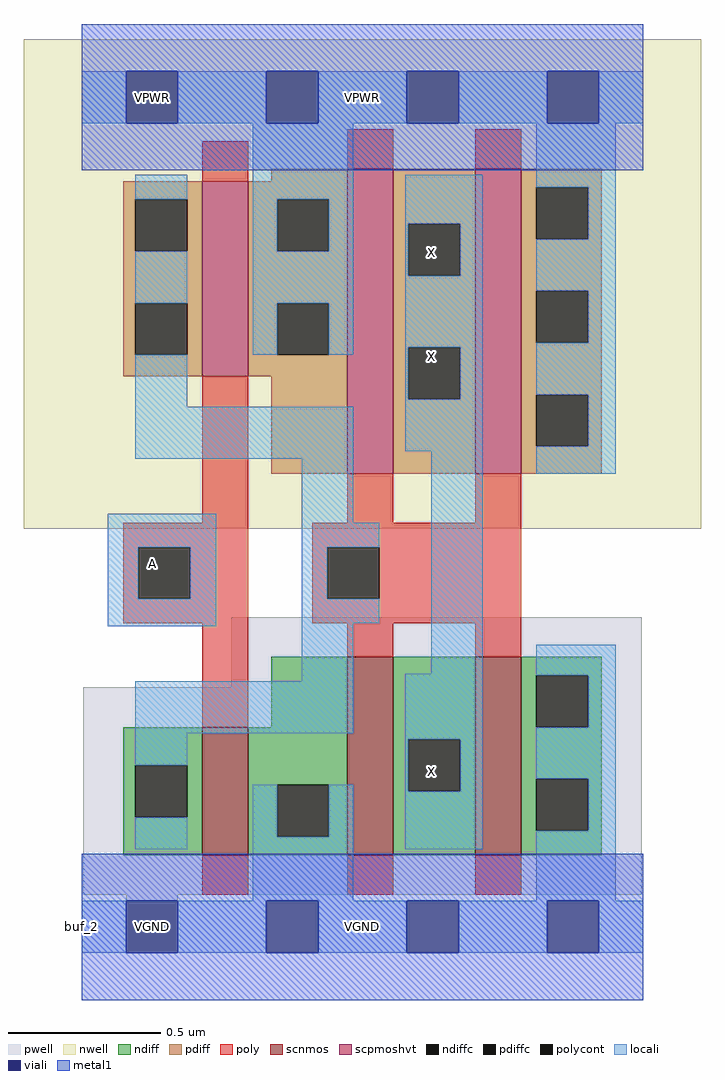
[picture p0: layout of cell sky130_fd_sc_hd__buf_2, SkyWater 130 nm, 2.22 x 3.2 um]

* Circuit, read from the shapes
.subckt sky130_fd_sc_hd__buf_2 A VGND VNB VPB VPWR X
XM1 VGND A n1 VNB sky130_fd_pr__nfet_01v8 w=0.42 l=0.15
XM2 X n1 VGND VNB sky130_fd_pr__nfet_01v8 w=0.65 l=0.15 m=2
XM3 VPWR A n1 VPB sky130_fd_pr__pfet_01v8_hvt w=0.64 l=0.15
XM4 X n1 VPWR VPB sky130_fd_pr__pfet_01v8_hvt w=1 l=0.15 m=2
.ends

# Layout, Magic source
magic
tech sky130A
magscale 1 2
<< nwell >>
rect -38 261 406 582
<< pwell >>
rect 98 157 367 203
rect 1 21 367 157
rect 29 -17 63 21
<< scnmos >>
rect 79 47 109 131
rect 174 47 204 177
rect 258 47 288 177
<< scpmoshvt >>
rect 79 361 109 489
rect 174 297 204 497
rect 258 297 288 497
<< ndiff >>
rect 124 131 174 177
rect 27 106 79 131
rect 27 72 35 106
rect 69 72 79 106
rect 27 47 79 72
rect 109 93 174 131
rect 109 59 128 93
rect 162 59 174 93
rect 109 47 174 59
rect 204 123 258 177
rect 204 89 214 123
rect 248 89 258 123
rect 204 47 258 89
rect 288 165 341 177
rect 288 131 298 165
rect 332 131 341 165
rect 288 97 341 131
rect 288 63 298 97
rect 332 63 341 97
rect 288 47 341 63
<< pdiff >>
rect 124 489 174 497
rect 27 477 79 489
rect 27 443 35 477
rect 69 443 79 477
rect 27 409 79 443
rect 27 375 35 409
rect 69 375 79 409
rect 27 361 79 375
rect 109 477 174 489
rect 109 443 128 477
rect 162 443 174 477
rect 109 409 174 443
rect 109 375 128 409
rect 162 375 174 409
rect 109 361 174 375
rect 124 297 174 361
rect 204 461 258 497
rect 204 427 214 461
rect 248 427 258 461
rect 204 380 258 427
rect 204 346 214 380
rect 248 346 258 380
rect 204 297 258 346
rect 288 485 341 497
rect 288 451 298 485
rect 332 451 341 485
rect 288 417 341 451
rect 288 383 298 417
rect 332 383 341 417
rect 288 349 341 383
rect 288 315 298 349
rect 332 315 341 349
rect 288 297 341 315
<< ndiffc >>
rect 35 72 69 106
rect 128 59 162 93
rect 214 89 248 123
rect 298 131 332 165
rect 298 63 332 97
<< pdiffc >>
rect 35 443 69 477
rect 35 375 69 409
rect 128 443 162 477
rect 128 375 162 409
rect 214 427 248 461
rect 214 346 248 380
rect 298 451 332 485
rect 298 383 332 417
rect 298 315 332 349
<< poly >>
rect 79 489 109 515
rect 174 497 204 523
rect 258 497 288 523
rect 79 265 109 361
rect 174 265 204 297
rect 258 265 288 297
rect 27 249 109 265
rect 27 215 37 249
rect 71 215 109 249
rect 27 199 109 215
rect 151 249 288 265
rect 151 215 161 249
rect 195 215 288 249
rect 151 199 288 215
rect 79 131 109 199
rect 174 177 204 199
rect 258 177 288 199
rect 79 21 109 47
rect 174 21 204 47
rect 258 21 288 47
<< polycont >>
rect 37 215 71 249
rect 161 215 195 249
<< locali >>
rect 0 527 29 561
rect 63 527 121 561
rect 155 527 213 561
rect 247 527 305 561
rect 339 527 368 561
rect 35 477 69 493
rect 35 409 69 443
rect 112 477 178 527
rect 112 443 128 477
rect 162 443 178 477
rect 112 409 178 443
rect 112 375 128 409
rect 162 375 178 409
rect 212 461 263 493
rect 212 427 214 461
rect 248 427 263 461
rect 212 380 263 427
rect 35 341 69 375
rect 212 346 214 380
rect 248 346 263 380
rect 35 307 178 341
rect 212 312 263 346
rect 17 249 88 271
rect 17 215 37 249
rect 71 215 88 249
rect 17 197 88 215
rect 144 265 178 307
rect 144 249 195 265
rect 144 215 161 249
rect 144 199 195 215
rect 144 161 178 199
rect 229 166 263 312
rect 298 485 350 527
rect 332 451 350 485
rect 298 417 350 451
rect 332 383 350 417
rect 298 349 350 383
rect 332 315 350 349
rect 298 297 350 315
rect 35 127 178 161
rect 35 106 69 127
rect 212 123 263 166
rect 35 51 69 72
rect 112 59 128 93
rect 162 59 178 93
rect 112 17 178 59
rect 212 89 214 123
rect 248 89 263 123
rect 212 51 263 89
rect 298 165 350 185
rect 332 131 350 165
rect 298 97 350 131
rect 332 63 350 97
rect 298 17 350 63
rect 0 -17 29 17
rect 63 -17 121 17
rect 155 -17 213 17
rect 247 -17 305 17
rect 339 -17 368 17
<< viali >>
rect 29 527 63 561
rect 121 527 155 561
rect 213 527 247 561
rect 305 527 339 561
rect 29 -17 63 17
rect 121 -17 155 17
rect 213 -17 247 17
rect 305 -17 339 17
<< metal1 >>
rect 0 561 368 592
rect 0 527 29 561
rect 63 527 121 561
rect 155 527 213 561
rect 247 527 305 561
rect 339 527 368 561
rect 0 496 368 527
rect 0 17 368 48
rect 0 -17 29 17
rect 63 -17 121 17
rect 155 -17 213 17
rect 247 -17 305 17
rect 339 -17 368 17
rect 0 -48 368 -17
<< labels >>
flabel metal1 s 29 527 63 561 0 FreeSans 200 0 0 0 VPWR
port 5 nsew power bidirectional abutment
flabel metal1 s 29 -17 63 17 0 FreeSans 200 0 0 0 VGND
port 2 nsew ground bidirectional abutment
flabel locali s 29 527 63 561 0 FreeSans 200 0 0 0 VPWR
port 5 nsew power bidirectional abutment
flabel locali s 29 -17 63 17 0 FreeSans 200 0 0 0 VGND
port 2 nsew ground bidirectional abutment
flabel locali s 212 85 246 119 0 FreeSans 200 0 0 0 X
port 6 nsew signal output
flabel locali s 212 357 246 391 0 FreeSans 200 0 0 0 X
port 6 nsew signal output
flabel locali s 212 425 246 459 0 FreeSans 200 0 0 0 X
port 6 nsew signal output
flabel locali s 29 221 63 255 0 FreeSans 200 0 0 0 A
port 1 nsew signal input
flabel nwell s 29 527 63 561 0 FreeSans 200 0 0 0 VPB
port 4 nsew power bidirectional
flabel pwell s 29 -17 63 17 0 FreeSans 200 0 0 0 VNB
port 3 nsew ground bidirectional
rlabel comment s 0 0 0 0 4 buf_2
rlabel metal1 s 0 -48 368 48 1 VGND
port 2 nsew ground bidirectional abutment
rlabel metal1 s 0 496 368 592 1 VPWR
port 5 nsew power bidirectional abutment
<< properties >>
string FIXED_BBOX 0 0 368 544
string GDS_END 3092062
string GDS_FILE $PDKPATH/libs.ref/sky130_fd_sc_hd/gds/sky130_fd_sc_hd.gds
string GDS_START 3087626
string LEFclass CORE
string LEFsite unithd
string LEFsymmetry X Y R90
string path 0.000 13.600 9.200 13.600 
<< end >>
